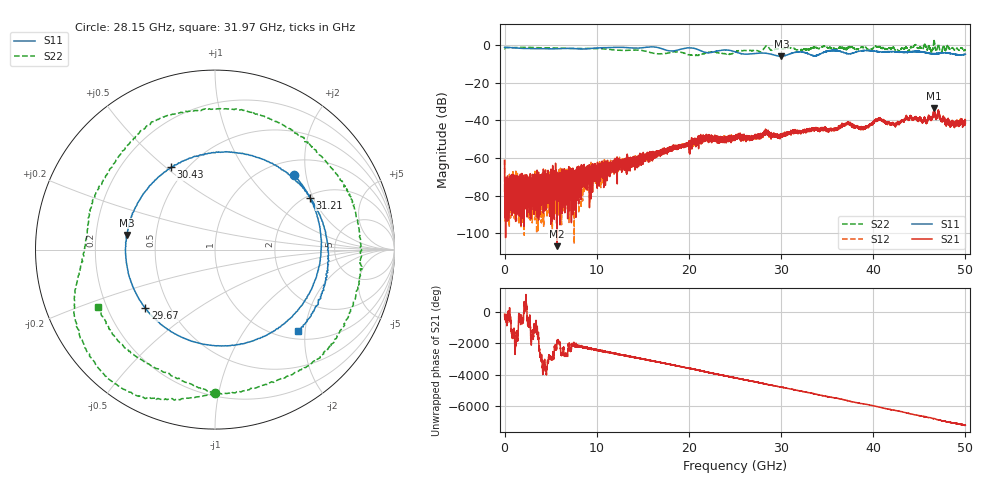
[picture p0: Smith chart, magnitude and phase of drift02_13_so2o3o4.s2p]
!Created with skrf (http://scikit-rf.org).
# Hz S RI R 50.0
!freq ReS11 ImS11 ReS21 ImS21 ReS12 ImS12 ReS22 ImS22
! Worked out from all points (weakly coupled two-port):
!   10001 points, 300 kHz to 50 GHz, reference 50 ohm
!   highest |S21| = -33.68 dB at 46.6 GHz (marker M1); lowest = -106.7 dB at 5.67 GHz (marker M2)
!   lowest |S11| = -6.1 dB at 30.04 GHz (marker M3), VSWR 2.97, Z = 16.9 + j3.66 ohm
!   |S11| at or under -10 dB: nowhere
!   |S22| runs from -5.7 to 2.3 dB; largest |S21 - S12| = 0.0036
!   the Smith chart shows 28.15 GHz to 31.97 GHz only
!   S11 on the Smith chart (normalised r, x): 28.15 GHz: 1.30, +1.71; 29.67 GHz: 0.37, -0.32; 30.43 GHz: 0.42, +0.52; 31.21 GHz: 2.08, +1.90; 31.97 GHz: 1.16, -1.83
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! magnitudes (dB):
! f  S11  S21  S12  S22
! 300 kHz  -1.3  -61.3  -60.9  -2.1
! 270.3 MHz  -1.4  -75.1  -85.8  -1.4
! 5.67 GHz  -2.1  -106.7  -68.1  -1.7
! 7.32 GHz  -1.9  -79.6  -73.4  -1.9
! 8.335 GHz  -2.2  -66.8  -67.2  -1.9
! 16.67 GHz  -1.4  -56.3  -56.5  -4.7
! 21.64 GHz  -3.8  -48.3  -50.2  -4.7
! 25 GHz  -3.7  -48.8  -48.3  -3.9
! 28.15 GHz  -4.4  -45.8  -47.3  -2.0
! 29.67 GHz  -5.9  -48.7  -48.2  -2.1
! 30.04 GHz  -6.1  -47.4  -48.3  -2.0
! 30.43 GHz  -5.7  -47.7  -46.3  -1.9
! 31.21 GHz  -4.4  -46.8  -46.0  -1.8
! 31.97 GHz  -3.8  -46.7  -46.0  -2.8
! 33.34 GHz  -5.5  -45.1  -45.0  -1.5
! 37.24 GHz  -4.7  -41.6  -41.4  -1.4
! 38.83 GHz  -3.0  -44.3  -44.4  -1.2
! 40.56 GHz  -3.6  -39.2  -39.6  -1.0
! 41.67 GHz  -3.6  -41.1  -41.2  -1.8
! 46.6 GHz  -4.7  -33.7  -34.5  1.9
! 48.57 GHz  -4.7  -42.1  -40.8  -1.5
! 50 GHz  -4.9  -40.2  -40.1  -2.6
